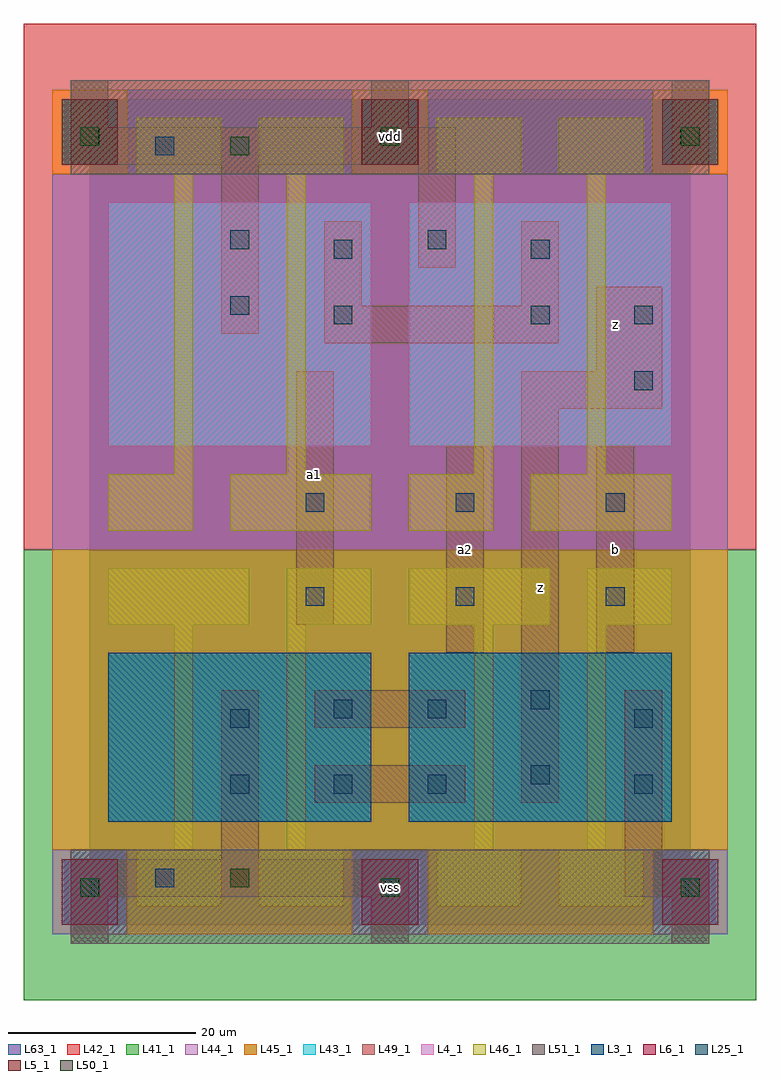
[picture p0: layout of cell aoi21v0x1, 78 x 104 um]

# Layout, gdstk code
import gdstk
lib = gdstk.Library(unit=1e-6, precision=1e-09)
def R(c, l, rs):  # rectangles x0, y0, x1, y1
    for r in rs: c.add(gdstk.rectangle(r[:2], r[2:], *l))
def A(c, l, x, y, w, h, nx, ny, dx, dy):  # array of equal rectangles
    R(c, l, [(x+i*dx, y+j*dy, x+i*dx+w, y+j*dy+h) for i in range(nx) for j in range(ny)])
L3_1 = (3, 1)
L4_1 = (4, 1)
L5_1 = (5, 1)
L6_1 = (6, 1)
L25_1 = (25, 1)
L41_1 = (41, 1)
L42_1 = (42, 1)
L43_1 = (43, 1)
L44_1 = (44, 1)
L45_1 = (45, 1)
L46_1 = (46, 1)
L49_1 = (49, 1)
L50_1 = (50, 1)
L51_1 = (51, 1)
L63_1 = (63, 1)

aoi21v0x1 = lib.new_cell('aoi21v0x1')
R(aoi21v0x1, L3_1, [(2,11,30,29), (34,11,62,29)])
R(aoi21v0x1, L4_1, [(2,51,30,77), (34,51,62,77)])
A(aoi21v0x1, L5_1, -3, 81, 6, 7, 3, 1, 32, 0)
R(aoi21v0x1, L6_1, [(-3,0,3,7), (-3,0,3,7), (29,0,35,7), (29,0,35,7), (61,0,67,7), (61,0,67,7)])
A(aoi21v0x1, L25_1, -1, 3, 2, 2, 3, 2, 32, 80)
A(aoi21v0x1, L25_1, 23, 34, 2, 2, 3, 2, 16, 10)
R(aoi21v0x1, L25_1, [(7,4,9,6), (15,14,17,16), (26,14,28,16), (36,14,38,16), (58,14,60,16), (47,15,49,17), (15,21,17,23), (58,21,60,23), (26,22,28,24), (36,22,38,24), (47,23,49,25), (58,57,60,59), (26,64,28,66), (47,64,49,66), (58,64,60,66), (15,65,17,67), (26,71,28,73), (47,71,49,73), (15,72,17,74), (36,72,38,74), (7,82,9,84)])
R(aoi21v0x1, L41_1, [(-7,-8,71,40)])
R(aoi21v0x1, L42_1, [(-7,40,71,96)])
A(aoi21v0x1, L43_1, -3, 0, 6, 7, 3, 2, 32, 81)
R(aoi21v0x1, L43_1, [(2,11,30,29), (34,11,62,29), (2,51,30,77), (34,51,62,77)])
A(aoi21v0x1, L44_1, -4, -1, 8, 9, 3, 1, 32, 0)
R(aoi21v0x1, L44_1, [(-4,40,68,80), (4,80,28,89), (36,80,60,89)])
A(aoi21v0x1, L45_1, -4, 80, 8, 9, 3, 1, 32, 0)
R(aoi21v0x1, L45_1, [(4,-1,28,8), (36,-1,60,8), (-4,8,68,40)])
R(aoi21v0x1, L46_1, [(5,2,14,8), (18,2,27,8), (37,2,46,8), (50,2,59,8), (9,8,11,32), (21,8,23,32), (41,8,43,32), (53,8,55,32), (2,32,17,38), (21,32,30,38), (34,32,49,38), (53,32,62,38), (2,42,11,48), (15,42,30,48), (34,42,43,48), (47,42,62,48), (9,48,11,80), (21,48,23,80), (41,48,43,80), (53,48,55,80), (5,80,14,86), (18,80,27,86), (37,80,46,86), (50,80,59,86)])
A(aoi21v0x1, L49_1, -2, -2, 4, 5, 3, 1, 32, 0)
R(aoi21v0x1, L49_1, [(-2,3,34,7), (57,3,66,7), (14,7,18,25), (57,7,61,25), (24,13,40,17), (46,13,50,55), (24,21,40,25), (38,29,42,51), (54,29,58,51), (22,32,26,59), (46,55,61,59), (54,59,61,68), (25,62,50,66), (14,63,18,81), (25,66,29,75), (46,66,50,75), (35,70,39,81), (-2,81,39,85), (62,81,66,90), (-2,85,2,90), (30,85,34,90)])
A(aoi21v0x1, L50_1, -1, 3, 2, 2, 3, 2, 32, 80)
R(aoi21v0x1, L50_1, [(15,4,17,6), (15,82,17,84)])
R(aoi21v0x1, L51_1, [(-2,-2,66,8), (-2,80,66,90)])
R(aoi21v0x1, L63_1, [(0,0,64,88)])
aoi21v0x1.add(gdstk.Label('a1', (24,48), layer=49, texttype=1))
aoi21v0x1.add(gdstk.Label('a2', (40,40), layer=49, texttype=1))
aoi21v0x1.add(gdstk.Label('z', (48,36), layer=49, texttype=1))
aoi21v0x1.add(gdstk.Label('b', (56,40), layer=49, texttype=1))
aoi21v0x1.add(gdstk.Label('z', (56,64), layer=49, texttype=1))
aoi21v0x1.add(gdstk.Label('vss', (32,4), layer=51, texttype=1))
aoi21v0x1.add(gdstk.Label('vdd', (32,84), layer=51, texttype=1))

lib.write_gds('aoi21v0x1.gds')
